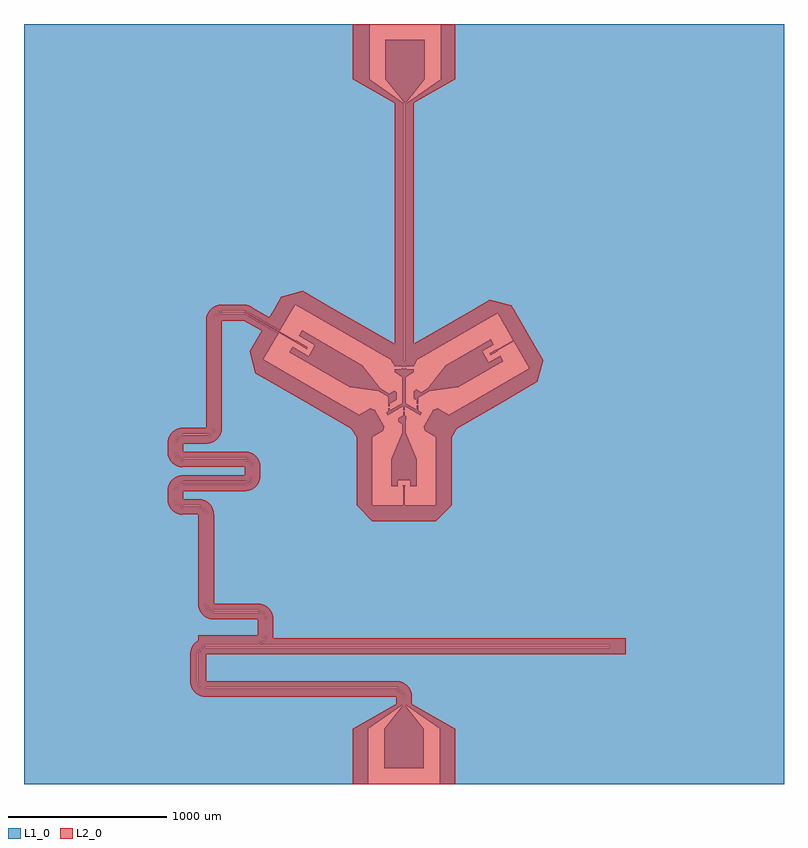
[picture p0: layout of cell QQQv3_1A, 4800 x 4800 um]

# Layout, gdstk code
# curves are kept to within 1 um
import gdstk
lib = gdstk.Library(unit=1e-6, precision=1e-09)
def R(c, l, rs):  # rectangles x0, y0, x1, y1
    for r in rs: c.add(gdstk.rectangle(r[:2], r[2:], *l))
def P(c, l, *ps):  # polygons
    for p in ps: c.add(gdstk.Polygon(p, *l))
L1_0 = (1, 0)
L2_0 = (2, 0)

qqqv3_1a = lib.new_cell('QQQv3_1A')
R(qqqv3_1a, L1_0, [(-1254,-1253.831,-1246,-991.662), (-1254,-991.662,-1246,-729.494)])
P(qqqv3_1a, L1_0, [(-2400,-1537.5),(-2400,-1500),(-907.111,-1500),(-915.835,-1502.988),(-925,-1504),(-1250,-1504),(-1250,-1520),(-922.841,-1519.96),(-907.978,-1517.446),(-896.117,-1512.297),(-884.131,-1503.155),(-875.128,-1491.611),(-869.352,-1478.35),(-867.037,-1464.071),(-867.674,-1352.181),(-870.32,-1341.658),(-875.976,-1330.006),(-884.077,-1319.899),(-892.406,-1313.024),(-905.895,-1306.237),(-922.837,-1303.04),(-1203.661,-1302.84),(-1212.63,-1301.056),(-1222.567,-1296.422),(-1230.966,-1289.375),(-1236.373,-1282),(-1240.569,-1271.87),(-1242,-1261),(-1242,-700),(-1244.459,-683.29),(-1250.492,-669.785),(-1259.744,-658.246),(-1271.614,-649.421),(-1285.33,-643.886),(-1300,-642),(-1395.346,-641.96),(-1409.587,-638.803),(-1420.511,-632.174),(-1428.937,-622.567),(-1433.571,-612.63),(-1435.514,-600),(-200,-600),(-200,-639),(-4,-639),(-4,-519),(-7,-519),(-7,-514.5),(7,-514.5),(7,-519),(4,-519),(4,-639),(200,-639),(200,-209.808),(130.718,-169.808),(123.397,-142.487),(185.096,-35.622),(212.417,-28.301),(281.699,-68.301),(791.954,226.295),(693.954,396.036),(590.031,336.036),(591.531,333.438),(546.498,307.438),(539.498,319.562),(584.531,345.562),(586.031,342.964),(689.954,402.964),(591.954,572.705),(83.484,279.139),(60,240),(15,240),(15,235),(5,235),(5,240),(-5,240),(-5,235),(-15,235),(-15,240),(-60,240),(-83.484,279.139),(-688.083,628.205),(-784.083,461.928),(-984.397,577.58),(-998.386,583.374),(-1013.397,585.35),(-1156.344,585.002),(-1176.52,578.932),(-1187.101,571.932),(-1194.582,564.451),(-1204.173,548.07),(-1207.961,529.469),(-1208,0),(-2400,0),(-2400,2400),(-217.5,2400),(-217.5,2050),(-0.5,1900),(-0.5,275),(3.75,250.6),(-6,250.6),(-6,248.6),(57.5,248.6),(57.5,250.6),(5.75,250.6),(3.5,275),(3.5,1900),(11.5,1900),(11.5,275),(9.25,254.1),(20,254.1),(20,256.1),(11.25,256.1),(15.5,275),(15.5,1900),(232.5,2050),(232.5,2400),(2400,2400),(2400,-1537.5),(1300,-1537.5),(1300,-1522),(-1250,-1522),(-1260.789,-1523.012),(-1271.201,-1526.014),(-1280.874,-1530.9),(-1289.468,-1537.5)],
  [(80.311,2.141),(80.311,31.368),(72.99,27.141),(60,34.641),(60,81.641),(77.321,91.641),(108.024,73.915),(150.885,98.66),(263.109,244.282),(548.031,408.782),(568.031,374.141),(494.419,331.641),(534.419,262.359),(608.031,304.859),(628.031,270.218),(343.109,105.718),(160.885,81.34),(90.311,40.594),(90.311,2.141)],
  [(-2400,-1575),(-2400,-1537.5),(-1289.468,-1537.5),(-1302.116,-1554.546),(-1307.784,-1575)],
  [(-1304,-1713),(-1304,-1580),(-1302.07,-1565.691),(-1295.326,-1550.647),(-1284.357,-1538.34),(-1270.186,-1529.915),(-1254.134,-1526.158),(1300,-1526),(1300,-1534),(-1253.799,-1534.157),(-1268.478,-1537.874),(-1279.73,-1544.898),(-1288.51,-1554.84),(-1294.088,-1566.875),(-1296,-1580),(-1296,-1713)],
  [(225,-2400),(225,-2050),(8,-1900),(7.96,-1847.848),(5.461,-1833.029),(-4.472,-1814.067),(-20.606,-1800),(2400,-1800),(2400,-2400)],
  [(-80,-519),(-80,-350),(-10,-180),(-10,-126.509),(-37.239,-110.782),(-37.239,-90.782),(-5,-72.169),(-5,-50),(5,-50),(5,-72.169),(12.99,-76.782),(12.99,-96.782),(10,-98.509),(10,-180),(80,-350),(80,-519),(40,-519),(40,-481.5),(-40,-481.5),(-40,-519)],
  [(-1435.514,-600),(-1435.474,-548.168),(-1433.571,-537.37),(-1428.937,-527.433),(-1423.213,-520.302),(-1414.514,-513.627),(-1406.144,-509.944),(-1393.514,-508),(-998.041,-507.382),(-978.099,-500.579),(-961.904,-487.101),(-951.592,-468.727),(-948.486,-450),(-948.524,-397.882),(-952.313,-379.281),(-958.114,-367.997),(-967.781,-356.803),(-978.099,-349.421),(-989.776,-344.459),(-1006.486,-342),(-1397.175,-341.84),(-1411.264,-338.065),(-1424.48,-328.375),(-1432.317,-316.073),(-1435.514,-300),(-200,-300),(-200,-600)],
  [(3.5,1900),(-117.5,2050),(-117.5,2300),(132.5,2300),(132.5,2050),(11.5,1900)],
  [(-1292,-1650),(-1292,-1580),(-1291.967,-1578.33),(-1291.867,-1576.662),(-1291.701,-1575),(2400,-1575),(2400,-1650)],
  [(-2400,-1800),(-2400,-1650),(-1308,-1650),(-1307.004,-1760.703),(-1304.05,-1771.038),(-1298.068,-1782.457),(-1289.712,-1792.273),(-1279.394,-1800)],
  [(-2400,-2400),(-2400,-1800),(-1279.394,-1800),(-1266.221,-1805.686),(-1250,-1808),(-50,-1808),(-37.37,-1809.944),(-24.432,-1816.679),(-14.578,-1827.433),(-8.996,-1840.91),(-8,-1900),(-225,-2050),(-225,-2400)],
  [(-1192,0),(-1191.84,531.011),(-1188.065,545.1),(-1178.375,558.316),(-1166.073,566.153),(-1150,569.35),(-1013.397,569.35),(-1000.768,567.406),(-792.083,448.072),(-888.083,281.795),(-400,0)],
  [(-2400,-1650),(-2400,-1575),(-1307.784,-1575),(-1307.904,-1576.664),(-1307.976,-1578.331),(-1308,-1580),(-1308,-1650)],
  [(-1433.547,-336.24),(-1442.689,-322.312),(-1447.15,-306.259),(-1447.514,-250),(-1446.14,-237.893),(-1442.94,-228.249),(-1439.113,-221.073),(-1432.887,-213.043),(-1426.89,-207.549),(-1423.598,-205.156),(-1403.762,-205.156),(-1415.979,-209.859),(-1426.376,-217.812),(-1434.113,-228.371),(-1438.561,-240.683),(-1439.514,-250),(-1438.89,-307.554),(-1436.382,-316.684),(-1433.06,-323.497),(-1427.412,-331.096),(-1421.845,-336.24)],
  [(-1250,-1516),(-1250,-1508),(-925,-1508),(-910.064,-1505.508),(-899.84,-1500.51),(-892.473,-1494.527),(-886.49,-1487.16),(-881.492,-1476.936),(-879.039,-1463.901),(-879,-1384.916),(-871,-1384.916),(-871.04,-1464.068),(-872.93,-1476.309),(-877.56,-1487.797),(-884.686,-1497.928),(-895.647,-1507.326),(-906.747,-1512.822),(-916.757,-1515.367),(-925,-1516)],
  [(-103.253,-71.16),(-113.253,-53.84),(-99.56,-45.934),(-99.56,-25.519),(-89.56,-25.519),(-89.56,-40.16),(-10,5.774),(-10,170),(-60,200),(-60,220),(-15,220),(-15,225),(-5,225),(-5,220),(5,220),(5,225),(15,225),(15,220),(60,220),(60,200),(10,170),(10,5.774),(80.311,-34.821),(80.311,-7.859),(90.311,-7.859),(90.311,-40.594),(113.253,-53.84),(103.253,-71.16),(5,-14.434),(5,-40),(-5,-40),(-5,-14.434)],
  [(-2400,-1200),(-2400,-600),(-1451.514,-600),(-1449.055,-616.71),(-1441.886,-632.003),(-1430.615,-644.582),(-1416.198,-653.38),(-1395.633,-657.961),(-1292.707,-658.638),(-1283.927,-661.197),(-1274.432,-666.679),(-1266.679,-674.432),(-1261.935,-682.25),(-1258,-700),(-1258,-1200)],
  [(-1435.514,-300),(-1435.474,-248.168),(-1434.083,-239.13),(-1425.688,-223.003),(-1411.264,-211.935),(-1395.346,-208.04),(-1243.656,-207.652),(-1223.48,-201.582),(-1212.899,-194.582),(-1205.418,-187.101),(-1195.827,-170.719),(-1192.155,-154.234),(-1192,0),(-400,0),(-281.699,-68.301),(-212.417,-28.301),(-185.096,-35.622),(-123.397,-142.487),(-130.718,-169.808),(-200,-209.808),(-200,-300)],
  [(-125,-2300),(-125,-2050),(-4,-1900),(4,-1900),(125,-2050),(125,-2300)],
  [(-963.873,-467.325),(-960.52,-451.776),(-960.525,-398.099),(-961.893,-388.708),(-966.03,-378.106),(-972.642,-368.845),(-981.326,-361.49),(-993.36,-355.912),(-1006.486,-354),(-1395.564,-353.961),(-1405.707,-352.606),(-1415.412,-349.361),(-1425.992,-343.142),(-1433.547,-336.24),(-1421.845,-336.24),(-1408.497,-343.492),(-1395.421,-345.96),(-1006.486,-346),(-992.177,-347.93),(-978.891,-353.583),(-967.577,-362.555),(-959.046,-374.203),(-953.906,-387.696),(-952.486,-400),(-952.805,-455.867),(-955.34,-467.325)],
  [(-1447.514,-598.409),(-1447.475,-547.932),(-1446.527,-539.719),(-1443.6,-529.814),(-1437.683,-518.933),(-1429.442,-509.686),(-1419.311,-502.56),(-1407.823,-497.93),(-1393.514,-496),(-1002.732,-495.847),(-993.511,-494.132),(-983.19,-489.665),(-971.69,-480.087),(-963.873,-467.325),(-955.34,-467.325),(-962.796,-481.736),(-974.196,-493.283),(-988.512,-500.921),(-1002.418,-503.847),(-1393.514,-504),(-1404.807,-505.408),(-1415.408,-509.544),(-1423.244,-514.898),(-1429.815,-521.746),(-1435.64,-531.522),(-1439.475,-548.099),(-1439.514,-598.409)],
  [(-2400,-300),(-2400,0),(-1208,0),(-1208.04,-151.832),(-1211.197,-166.073),(-1217.826,-176.997),(-1230.607,-187.254),(-1246.339,-191.84),(-1395.633,-192.039),(-1408.185,-193.886),(-1420.034,-198.418),(-1430.615,-205.418),(-1438.096,-212.899),(-1445.096,-223.48),(-1449.055,-233.29),(-1451.476,-247.882),(-1451.514,-300)],
  [(-1423.598,-205.156),(-1411.134,-198.955),(-1395.508,-196.037),(-1244.31,-195.647),(-1235.064,-193.508),(-1228.106,-190.456),(-1220.27,-185.102),(-1214.898,-179.73),(-1207.874,-168.478),(-1204.157,-153.799),(-1204,57.013),(-1196,57.013),(-1196.04,-152.068),(-1197.42,-162.304),(-1199.915,-170.186),(-1204.674,-179.353),(-1209.686,-185.928),(-1217.264,-192.946),(-1226.039,-198.393),(-1235.691,-202.07),(-1245.866,-203.842),(-1393.514,-204)],
  [(-879,-1384.916),(-879.157,-1357.201),(-882.874,-1342.522),(-887.563,-1334.27),(-893.845,-1327.157),(-901.453,-1321.484),(-910.064,-1317.492),(-925,-1315),(-1200,-1315),(-1210.281,-1314.012),(-1220.186,-1311.085),(-1229.353,-1306.326),(-1237.445,-1299.908),(-1244.168,-1292.067),(-1248.393,-1284.961),(-1252.07,-1275.309),(-1253.842,-1265.134),(-1254,-1253.831),(-1246,-1253.831),(-1245.843,-1264.799),(-1244.088,-1274.125),(-1240.456,-1282.894),(-1233.843,-1292.155),(-1221.894,-1301.456),(-1207.571,-1306.373),(-925,-1307),(-916.757,-1307.633),(-906.747,-1310.178),(-895.647,-1315.674),(-887.555,-1322.092),(-879.674,-1331.647),(-874.178,-1342.747),(-871.158,-1356.866),(-871,-1384.916)],
  [(-1254,-729.494),(-1254.039,-698.099),(-1255.912,-686.875),(-1262.563,-673.27),(-1267.473,-667.473),(-1274.84,-661.49),(-1285.064,-656.492),(-1296.201,-654.157),(-1395.583,-653.96),(-1411.767,-650.822),(-1426.251,-642.946),(-1437.683,-631.067),(-1444.998,-616.293),(-1447.514,-598.409),(-1439.514,-598.409),(-1437.022,-614.936),(-1433.031,-623.547),(-1428.616,-629.73),(-1418.674,-638.51),(-1408.451,-643.508),(-1395.415,-645.961),(-1295.866,-646.158),(-1281.747,-649.178),(-1268.933,-655.832),(-1261.092,-662.555),(-1254.674,-670.647),(-1249.915,-679.814),(-1246.988,-689.719),(-1246,-729.494)],
  [(-20.606,-1800),(-33.779,-1794.314),(-50,-1792),(-1255.482,-1791.641),(-1267.75,-1788.065),(-1278.375,-1780.966),(-1286.373,-1771),(-1290.569,-1760.87),(-1292,-1750),(-1292,-1650),(2400,-1650),(2400,-1800)],
  [(-1291.701,-1575),(-1286.787,-1559.734),(-1277.875,-1548.583),(-1265.743,-1541.062),(-1250,-1538),(2400,-1537.5),(2400,-1575)],
  [(-2400,-600),(-2400,-300),(-1451.514,-300),(-1448.408,-318.727),(-1438.096,-337.101),(-1421.901,-350.579),(-1404.049,-357.035),(-1002.825,-358.16),(-990.413,-361.197),(-978.111,-369.034),(-969.231,-380.607),(-964.845,-394.518),(-964.526,-451.832),(-966.429,-462.63),(-971.063,-472.567),(-978.111,-480.966),(-987.092,-487.254),(-997.395,-491.004),(-1393.514,-492),(-1404.049,-492.965),(-1416.198,-496.62),(-1425.517,-501.628),(-1435.269,-509.744),(-1443.023,-519.785),(-1448.408,-531.273),(-1451.476,-547.882),(-1451.514,-600)],
  [(-4,-1900),(-4.039,-1848.099),(-7.874,-1831.522),(-14.898,-1820.27),(-23.27,-1812.563),(-33.279,-1807.147),(-44.31,-1804.353),(-1254.134,-1803.842),(-1268.253,-1800.822),(-1279.353,-1795.326),(-1290.314,-1785.928),(-1297.44,-1775.797),(-1301.483,-1766.293),(-1303.644,-1756.193),(-1304,-1713),(-1296,-1713),(-1295.647,-1755.69),(-1293.508,-1764.936),(-1289.516,-1773.547),(-1282.527,-1782.527),(-1275.16,-1788.51),(-1264.936,-1793.508),(-1253.799,-1795.843),(-41.757,-1796.633),(-27.91,-1800.725),(-15.643,-1808.34),(-5.832,-1818.933),(0.822,-1831.747),(3.96,-1847.932),(4,-1900)],
  [(-1204,57.013),(-1203.842,531.484),(-1200.822,545.603),(-1195.326,556.703),(-1185.928,567.664),(-1173.961,575.743),(-1162.304,579.93),(-1150,581.35),(-1011.378,581.313),(-993.669,577.617),(-682.16,398.464),(-680.66,401.062),(-607.914,359.062),(-614.914,346.938),(-687.66,388.938),(-686.16,391.536),(-997.086,570.361),(-1013.397,573.35),(-1150,573.35),(-1161.292,571.943),(-1170.203,568.676),(-1181.155,561.194),(-1188.51,552.51),(-1193.508,542.286),(-1195.843,531.149),(-1196,57.013)],
  [(-2400,-1500),(-2400,-1200),(-1258,-1200),(-1257.961,-1263.118),(-1255.541,-1277.71),(-1250.579,-1289.386),(-1243.197,-1299.704),(-1233.748,-1308.171),(-1222.684,-1314.38),(-1210.535,-1318.035),(-1200,-1319),(-919.518,-1319.359),(-905.607,-1323.746),(-894.034,-1332.625),(-886.197,-1344.927),(-883.16,-1357.339),(-883.634,-1469.27),(-886.91,-1479.697),(-891.625,-1487.498),(-897.913,-1494.098),(-907.111,-1500)],
  [(-99.56,-15.519),(-99.56,45.934),(-160.885,81.34),(-343.109,105.718),(-724.16,325.718),(-704.16,360.359),(-602.835,301.859),(-562.835,371.141),(-664.16,429.641),(-644.16,464.282),(-263.109,244.282),(-150.885,98.66),(-93.024,65.254),(-62.321,82.981),(-45,72.981),(-45,25.981),(-82.239,4.481),(-89.56,8.707),(-89.56,-15.519)])
R(qqqv3_1a, L2_0, [(-60,600,60,1200)])
P(qqqv3_1a, L2_0, [(-1250,0),(-1249.843,532.956),(-1246.832,552.321),(-1240.103,570.727),(-1231.567,585.203),(-1218.717,600),(-939.23,600),(-849.686,548.301),(-819.837,600),(-439.23,600),(-60,381.051),(-60,600),(60,600),(60,381.051),(439.23,600),(691.666,600),(878.557,276.295),(841.954,139.692),(600,0),(-600,0),(-938.083,195.192),(-974.686,331.795),(-899.686,461.699),(-1013.397,527.35),(-1150,527.35),(-1150,0)],
  [(-1493.514,-300),(-1493.357,-244.393),(-1490.345,-225.022),(-1479.646,-199.192),(-1471.698,-187.651),(-1460.149,-175.436),(-1446.718,-165.328),(-1434.359,-158.722),(-1421.198,-153.908),(-1404.711,-150.629),(-1250,-150),(-1250,0),(-1150,0),(-1150.982,-163.979),(-1154.722,-180.368),(-1161.155,-195.898),(-1170.099,-210.132),(-1183.365,-224.564),(-1194.443,-233.147),(-1209.156,-241.278),(-1222.316,-246.092),(-1238.804,-249.371),(-1393.514,-250),(-1393.514,-300)],
  [(-1245.596,-1350),(-1259.902,-1341.074),(-1274.413,-1327.803),(-1286.047,-1311.95),(-1294.354,-1294.127),(-1299.842,-1266.624),(-1300,-1200),(-1200,-1200),(-1200,-1261),(-922.192,-1261.039),(-894.592,-1265.735),(-869.377,-1277.897),(-858.292,-1286.502),(-846.741,-1298.746),(-832.551,-1322.879),(-825.607,-1350)],
  [(-1006.486,-450),(-1006.486,-400),(-1393.514,-400),(-1410.265,-398.587),(-1423.882,-395.278),(-1439.413,-388.845),(-1451.382,-381.556),(-1464.225,-370.711),(-1473.415,-360.132),(-1481.037,-348.372),(-1487.903,-333.028),(-1492.101,-316.751),(-1493.514,-300),(-1006.486,-300),(-989.735,-301.413),(-976.118,-304.722),(-958.114,-312.478),(-941.968,-323.596),(-928.302,-337.651),(-916.389,-356.612),(-910.394,-372.316),(-907.114,-388.804),(-906.486,-450)],
  [(-1310,-1500),(-1300,-1493.397),(-1300,-1462),(-925,-1462),(-925,-1361),(-1202.785,-1360.961),(-1224.803,-1357.875),(-1245.596,-1350),(-825.607,-1350),(-825,-1462),(-826.633,-1480),(1400,-1480),(1400,-1500)],
  [(439.23,600),(541.954,659.308),(678.557,622.705),(691.666,600)],
  [(-1300,-1200),(-1300,-700),(-1401.919,-699.646),(-1421.198,-696.092),(-1439.413,-688.845),(-1462.214,-672.666),(-1479.646,-650.808),(-1490.345,-624.978),(-1493.514,-600),(-1300,-600),(-1277.748,-602.507),(-1254.102,-611.155),(-1231.3,-627.334),(-1215.328,-646.797),(-1204.722,-669.632),(-1201.413,-683.249),(-1200,-700),(-1200,-1200)],
  [(-60,1200),(-60,1900),(-58,1900),(-325,2050),(-325,2400),(325,2400),(325,2050),(58,1900),(60,1900),(60,1200)],
  [(-325,-2400),(-325,-2050),(-58,-1900),(-50,-1900),(-50,-1850),(-1252.83,-1849.96),(-1277.926,-1846.021),(-1301.22,-1835.886),(-1321.209,-1820.209),(-1336.603,-1800),(36.603,-1800),(44.582,-1817.53),(49.052,-1836.265),(50,-1900),(58,-1900),(325,-2050),(325,-2400)],
  [(-300,-600),(-300,-209.808),(-331.699,-154.904),(-600,0),(600,0),(331.699,-154.904),(300,-209.808),(300,-600)],
  [(-1493.514,-600),(-1492.886,-538.804),(-1488.792,-519.632),(-1482.359,-504.102),(-1471.698,-487.651),(-1455.863,-471.817),(-1439.413,-461.155),(-1418.492,-453.17),(-1393.514,-450),(-906.486,-450),(-907.899,-466.751),(-912.097,-483.028),(-918.963,-498.372),(-928.302,-512.349),(-939.851,-524.564),(-953.282,-534.672),(-968.217,-542.388),(-981.508,-546.83),(-1006.486,-550),(-1393.514,-550),(-1393.514,-600)],
  [(-1218.717,600),(-1205.572,610.487),(-1188.28,619.734),(-1169.515,625.428),(-1150,627.35),(-999.662,626.402),(-973.228,618.928),(-939.23,600)],
  [(-819.837,600),(-774.686,678.205),(-638.083,714.808),(-439.23,600)],
  [(-1336.603,-1800),(-1346.227,-1777.21),(-1349.848,-1755.509),(-1349.645,-1571.58),(-1346.078,-1552.268),(-1337.479,-1531.549),(-1326.323,-1515.387),(-1310,-1500),(1400,-1500),(1400,-1580),(-1250,-1580),(-1250,-1750),(-47.17,-1750.04),(-22.074,-1753.979),(1.22,-1764.114),(21.209,-1779.791),(36.603,-1800)],
  [(-200,-739),(-300,-639),(-300,-600),(300,-600),(300,-639),(200,-739)])

lib.write_gds('QQQv3_1A.gds')
